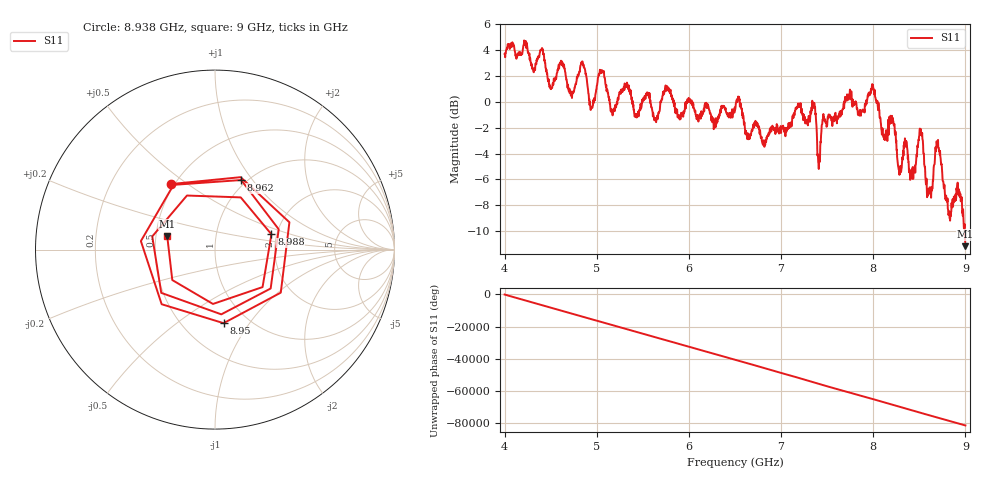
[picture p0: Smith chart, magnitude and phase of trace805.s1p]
! Created with skrf 1.8.0 (http://scikit-rf.org).
# Hz S RI R 50.0
!freq ReS11 ImS11
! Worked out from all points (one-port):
!   1601 points, 4 GHz to 9 GHz, reference 50 ohm
!   lowest |S11| = -11.2 dB at 9 GHz (marker M1), VSWR 1.77, Z = 28.7 + j4.71 ohm
!   |S11| at or under -10 dB: 8.992808 GHz to end of sweep
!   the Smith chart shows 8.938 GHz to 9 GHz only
!   S11 on the Smith chart (normalised r, x): 8.938 GHz: 0.48, +0.43; 8.95 GHz: 0.77, -0.76; 8.962 GHz: 0.94, +0.88; 8.988 GHz: 1.87, +0.36; 9 GHz: 0.57, +0.09
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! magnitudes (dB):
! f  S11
! 4 GHz  3.7
! 4.625 GHz  3.0
! 4.731 GHz  0.3
! 4.85 GHz  3.0
! 4.941 GHz  -0.5
! 5.053 GHz  2.2
! 5.25 GHz  0.7
! 5.875 GHz  -1.0
! 6.5 GHz  -0.6
! 6.812 GHz  -3.0
! 7.125 GHz  -1.1
! 7.353 GHz  -0.1
! 7.412 GHz  -4.5
! 7.75 GHz  0.7
! 8 GHz  1.0
! 8.109 GHz  -2.7
! 8.219 GHz  -1.5
! 8.284 GHz  -5.6
! 8.375 GHz  -4.4
! 8.516 GHz  -2.1
! 8.609 GHz  -7.1
! 8.7 GHz  -3.2
! 8.822 GHz  -8.6
! 8.938 GHz  -7.1
! 8.95 GHz  -7.7
! 8.962 GHz  -7.7
! 8.988 GHz  -9.7
! 9 GHz  -11.2
